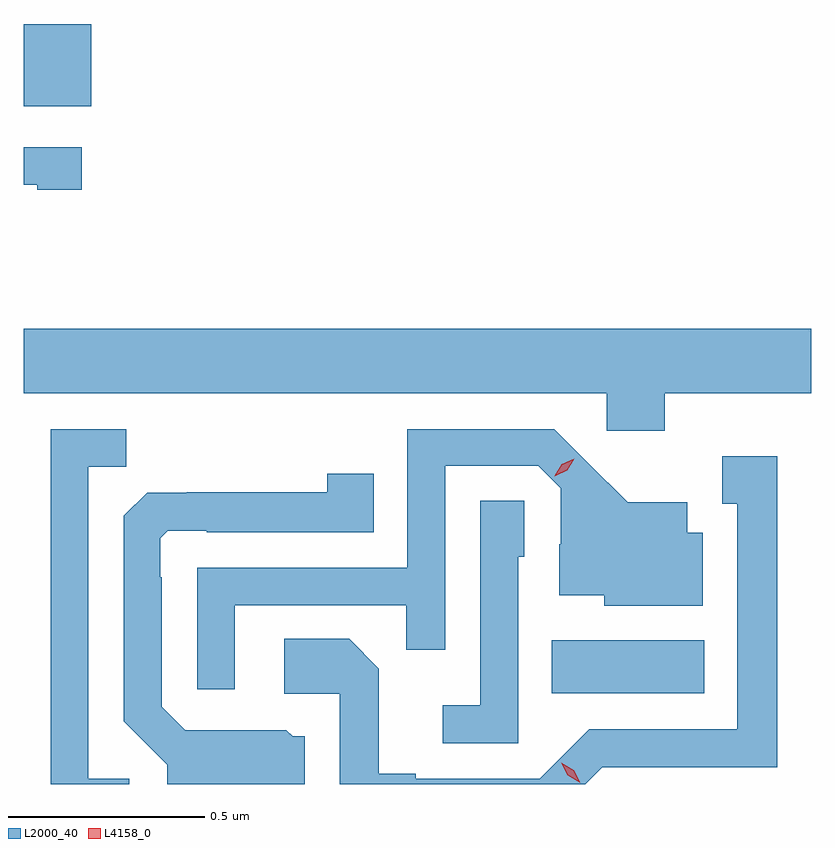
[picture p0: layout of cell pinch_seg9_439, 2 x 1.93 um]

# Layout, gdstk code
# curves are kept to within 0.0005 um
import gdstk
lib = gdstk.Library(unit=1e-6, precision=1e-09)
def R(c, l, rs):  # rectangles x0, y0, x1, y1
    for r in rs: c.add(gdstk.rectangle(r[:2], r[2:], *l))
def P(c, l, *ps):  # polygons
    for p in ps: c.add(gdstk.Polygon(p, *l))
L2000_40 = (2000, 40)
L4158_0 = (4158, 0)

pinch_seg9_439 = lib.new_cell('pinch_seg9_439')
R(pinch_seg9_439, L2000_40, [(227.944,1235.618,228.331,1235.752), (226.603,1237.109,226.774,1237.318)])
P(pinch_seg9_439, L2000_40, [(226.75,1237.005),(226.603,1237.005),(226.603,1236.909),(226.637,1236.909),(226.637,1236.897),(226.75,1236.897)],
  [(228.231,1236.38),(228.603,1236.38),(228.603,1236.544),(226.603,1236.544),(226.603,1236.38),(228.084,1236.38),(228.084,1236.285),(228.231,1236.285)],
  [(227.139,1235.841),(227.575,1235.841),(227.575,1235.728),(227.673,1235.728),(227.673,1236.195),(227.91,1236.195),(227.967,1236.138),(227.967,1235.996),(227.963,1235.996),(227.963,1235.867),(228.078,1235.867),(228.078,1235.84),(228.328,1235.84),(228.328,1236.025),(228.289,1236.025),(228.289,1236.103),(228.137,1236.103),(227.95,1236.288),(227.577,1236.288),(227.577,1235.937),(227.043,1235.937),(227.043,1235.628),(227.139,1235.628)],
  [(226.87,1235.4),(226.767,1235.4),(226.767,1236.193),(226.863,1236.193),(226.863,1236.288),(226.671,1236.288),(226.671,1235.387),(226.87,1235.387)],
  [(228.072,1235.43),(228.294,1235.43),(228.294,1235.429),(228.517,1235.429),(228.517,1236.22),(228.377,1236.22),(228.377,1236.099),(228.416,1236.099),(228.416,1235.526),(228.039,1235.526),(227.913,1235.4),(227.599,1235.4),(227.599,1235.413),(227.505,1235.413),(227.505,1235.68),(227.429,1235.756),(227.265,1235.756),(227.265,1235.616),(227.406,1235.616),(227.406,1235.387),(228.029,1235.387)],
  [(227.317,1235.508),(227.286,1235.508),(227.27,1235.524),(227.136,1235.524),(227.136,1235.523),(227.013,1235.523),(226.953,1235.583),(226.953,1235.912),(226.95,1235.912),(226.95,1236.012),(226.968,1236.03),(227.068,1236.03),(227.068,1236.027),(227.492,1236.027),(227.492,1236.175),(227.374,1236.175),(227.374,1236.128),(227.017,1236.128),(227.017,1236.127),(226.916,1236.127),(226.857,1236.068),(226.857,1235.546),(226.967,1235.436),(226.967,1235.387),(227.317,1235.387)],
  [(227.859,1235.964),(227.874,1235.964),(227.874,1236.107),(227.763,1236.107),(227.763,1235.587),(227.667,1235.587),(227.667,1235.49),(227.859,1235.49)])
P(pinch_seg9_439, L4158_0, [(228.017,1235.39),(227.985,1235.409),(227.968,1235.441),(227.968,1235.441),(227.968,1235.441),(228,1235.422),(228.017,1235.39),(228.017,1235.39)],
  [(227.952,1236.169),(227.952,1236.17),(227.97,1236.199),(228.001,1236.214),(228.001,1236.214),(228.001,1236.213),(227.983,1236.184),(227.952,1236.169)])

lib.write_gds('pinch_seg9_439.gds')
